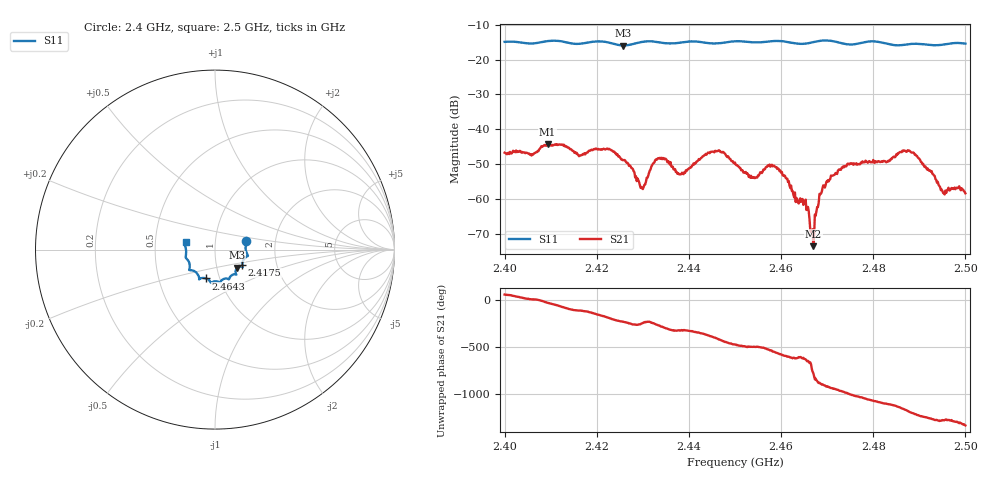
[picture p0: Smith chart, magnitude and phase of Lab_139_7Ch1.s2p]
# Hz S RI R 50
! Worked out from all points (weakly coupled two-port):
!   601 points, 2.4 GHz to 2.5 GHz, reference 50 ohm
!   highest |S21| = -44.28 dB at 2.4093 GHz (marker M1); lowest = -73.6 dB at 2.467 GHz (marker M2)
!   lowest |S11| = -15.9 dB at 2.4257 GHz (marker M3), VSWR 1.38, Z = 62.5 - j13 ohm
!   |S11| at or under -10 dB: start of sweep to end of sweep
!   S12 and S22 are empty: the file has one direction only
!   S11 on the Smith chart (normalised r, x): 2.4 GHz: 1.41, +0.14; 2.4175 GHz: 1.34, -0.23; 2.4643 GHz: 0.86, -0.28; 2.5 GHz: 0.72, +0.06
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2.4e9  0.1731 0.049  0.00242 0.00392  0 0  0 0
2.409333e9  0.182 -0.0305  0.00532 -0.003  0 0  0 0
2.416667e9  0.1528 -0.074  -0.0017 -0.0039  0 0  0 0
2.4175e9  0.1518 -0.0836  -0.00218 -0.00376  0 0  0 0
2.425667e9  0.123 -0.1015  -0.00229 0.00276  0 0  0 0
2.429833e9  0.117 -0.136  -0.00054 0.0013  0 0  0 0
2.433333e9  0.1136 -0.1372  -7.82e-05 0.00384  0 0  0 0
2.438333e9  0.0813 -0.1561  0.00169 0.00149  0 0  0 0
2.445167e9  0.0544 -0.1619  0.00404 -0.00252  0 0  0 0
2.45e9  0.0288 -0.1812  -0.0012 -0.0031  0 0  0 0
2.454167e9  0.00945 -0.1766  -0.0015 -0.00139  0 0  0 0
2.4585e9  -0.021 -0.1835  -0.00295 0.000457  0 0  0 0
2.464333e9  -0.0498 -0.1607  -0.000353 0.000839  0 0  0 0
2.4655e9  -0.0636 -0.158  0.000126 0.00068  0 0  0 0
2.466667e9  -0.0762 -0.1591  0.000323 -5.73e-05  0 0  0 0
2.467e9  -0.0789 -0.1598  0.000117 -0.000173  0 0  0 0
2.468833e9  -0.088 -0.1653  -0.00126 -4.46e-05  0 0  0 0
2.471333e9  -0.0879 -0.1615  -0.0016 0.00148  0 0  0 0
2.483333e9  -0.1408 -0.0898  0.0032 -0.00154  0 0  0 0
2.488e9  -0.1601 -0.0496  -0.00163 -0.00454  0 0  0 0
2.495e9  -0.1634 0.01  -0.00126 0.000297  0 0  0 0
2.5e9  -0.1639 0.0431  -0.000391 0.00114  0 0  0 0
